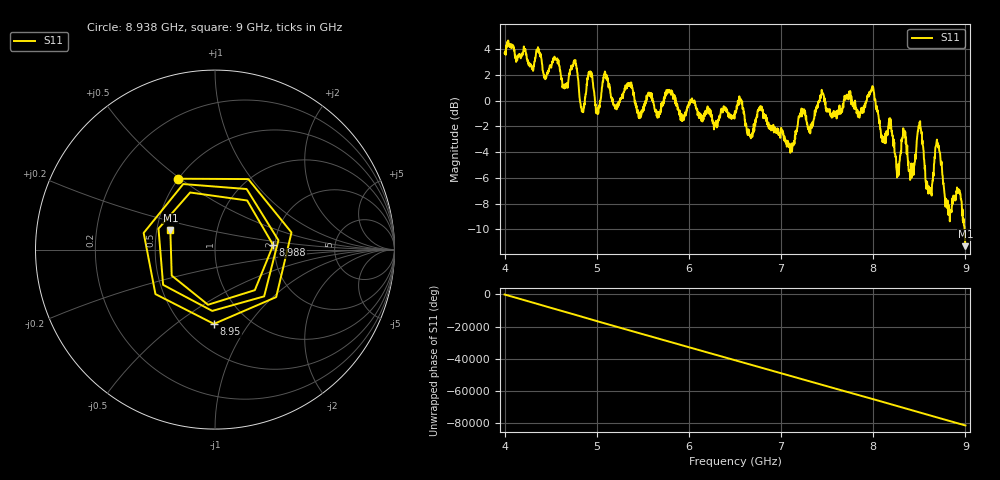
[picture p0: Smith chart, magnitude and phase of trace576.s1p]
! Created with skrf 1.8.0 (http://scikit-rf.org).
# Hz S RI R 50.0
!freq ReS11 ImS11
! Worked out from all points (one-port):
!   1601 points, 4 GHz to 9 GHz, reference 50 ohm
!   lowest |S11| = -11.3 dB at 9 GHz (marker M1), VSWR 1.75, Z = 29.5 + j6.95 ohm
!   |S11| at or under -10 dB: 8.991212 GHz to end of sweep
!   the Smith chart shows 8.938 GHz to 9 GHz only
!   S11 on the Smith chart (normalised r, x): 8.938 GHz: 0.50, +0.49; 8.95 GHz: 0.70, -0.70; 8.988 GHz: 1.96, +0.11; 9 GHz: 0.59, +0.14
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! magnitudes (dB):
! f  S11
! 4 GHz  3.7
! 4.625 GHz  1.4
! 4.759 GHz  3.1
! 4.844 GHz  -0.7
! 4.925 GHz  2.2
! 5.006 GHz  -0.9
! 5.094 GHz  2.1
! 5.25 GHz  -0.1
! 5.875 GHz  -0.3
! 6.5 GHz  -0.8
! 7.125 GHz  -3.3
! 7.441 GHz  0.8
! 7.75 GHz  0.7
! 7.988 GHz  0.8
! 8.1 GHz  -3.2
! 8.188 GHz  -1.6
! 8.259 GHz  -6.0
! 8.331 GHz  -2.5
! 8.375 GHz  -4.5
! 8.425 GHz  -5.4
! 8.503 GHz  -1.7
! 8.597 GHz  -7.2
! 8.697 GHz  -3.4
! 8.809 GHz  -8.3
! 8.938 GHz  -7.0
! 8.95 GHz  -7.7
! 8.988 GHz  -9.8
! 9 GHz  -11.3
